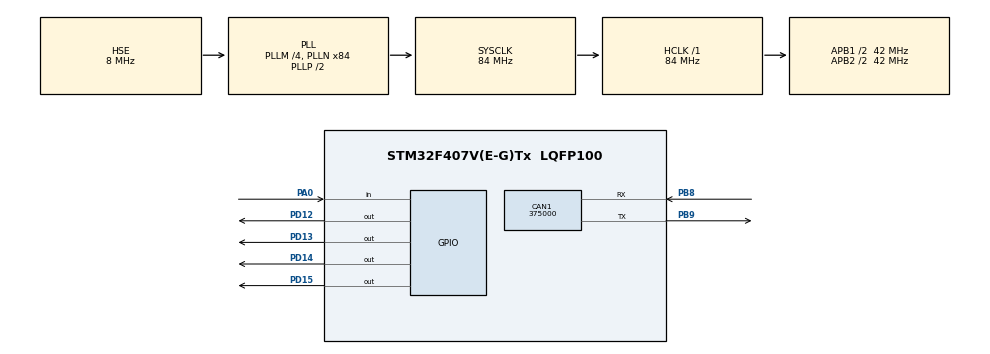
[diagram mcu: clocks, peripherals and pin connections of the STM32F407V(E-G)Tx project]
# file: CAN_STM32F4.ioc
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CAN1.BS1=CAN_BS1_4TQ
CAN1.BS2=CAN_BS2_2TQ
CAN1.CalculateBaudRate=375000
CAN1.CalculateTimeBit=2666.66
CAN1.CalculateTimeQuantum=380.95238095238096
Mcu.Family=STM32F4
Mcu.Name=STM32F407V(E-G)Tx
Mcu.Package=LQFP100
NVIC.CAN1_RX0_IRQn=true\:0\:0\:false\:false\:true\:true\:true
NVIC.PriorityGroup=NVIC_PRIORITYGROUP_4
PA0-WKUP.Signal=GPIO_Input
PA13.Mode=Serial_Wire
PA13.Signal=SYS_JTMS-SWDIO
PA14.Mode=Serial_Wire
PA14.Signal=SYS_JTCK-SWCLK
PB8.Mode=CAN_Activate
PB8.Signal=CAN1_RX
PB9.Mode=CAN_Activate
PB9.Signal=CAN1_TX
PD12.Signal=GPIO_Output
PD13.Signal=GPIO_Output
PD14.Signal=GPIO_Output
PD15.Signal=GPIO_Output
PH0-OSC_IN.Mode=HSE-External-Oscillator
PH0-OSC_IN.Signal=RCC_OSC_IN
PH1-OSC_OUT.Mode=HSE-External-Oscillator
PH1-OSC_OUT.Signal=RCC_OSC_OUT
ProjectManager.HeapSize=0x200
ProjectManager.StackSize=0x400
ProjectManager.TargetToolchain=MDK-ARM V5.27
RCC.48MHZClocksFreq_Value=42000000
RCC.AHBFreq_Value=84000000
RCC.APB1CLKDivider=RCC_HCLK_DIV2
RCC.APB1Freq_Value=42000000
RCC.APB1TimFreq_Value=84000000
RCC.APB2CLKDivider=RCC_HCLK_DIV2
RCC.APB2Freq_Value=42000000
RCC.APB2TimFreq_Value=84000000
RCC.CortexFreq_Value=84000000
RCC.HCLKFreq_Value=84000000
RCC.HSE_VALUE=8000000
RCC.HSI_VALUE=16000000
RCC.LSE_VALUE=32768
RCC.PLLM=4
RCC.PLLN=84
RCC.PLLSourceVirtual=RCC_PLLSOURCE_HSE
RCC.SYSCLKFreq_VALUE=84000000
RCC.SYSCLKSource=RCC_SYSCLKSOURCE_PLLCLK
RCC.VCOOutputFreq_Value=168000000
board=custom

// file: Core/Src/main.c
/* USER CODE BEGIN Header */
/**
  ******************************************************************************
  * @file           : main.c
  * @brief          : Main program body
  ******************************************************************************
  * @attention
  *
  * <h2><center>&copy; Copyright (c) 2021 STMicroelectronics.
  * All rights reserved.</center></h2>
  *
  * This software component is licensed by ST under BSD 3-Clause license,
  * the "License"; You may not use this file except in compliance with the
  * License. You may obtain a copy of the License at:
  *                        opensource.org/licenses/BSD-3-Clause
  *
  ******************************************************************************
  */
/* USER CODE END Header */
#include "main.h"
#include "stm32f4xx_hal.h"

CAN_HandleTypeDef hcan1;

/* USER CODE BEGIN PV */

//Tx & Rx message structure/typder
static CanRxMsgTypeDef myRxMessage;
static CanTxMsgTypeDef myTxMessage;

//Own and Remote IDs
uint16_t OwnID = 0x123;
uint16_t RemoteID = 0x124;

uint8_t myLEDVar = 0;

/* USER CODE END PV */

void SystemClock_Config(void);
static void MX_GPIO_Init(void);
static void MX_CAN1_Init(void);

void CAN_filterConfig(void);
void LED_Switch(uint8_t led);

int main(void)
{
  HAL_Init();

  SystemClock_Config();

  MX_GPIO_Init();
  MX_CAN1_Init();

	//Filter Config
	CAN_filterConfig();

	//Start listening for CAN traffic with IT
	HAL_CAN_Receive_IT(&hcan1, CAN_FIFO0);

	//Set Transmit paramters
	hcan1.pTxMsg->IDE = CAN_ID_STD;
	hcan1.pTxMsg->StdId = OwnID;
	hcan1.pTxMsg->RTR = CAN_RTR_DATA;
	hcan1.pTxMsg->DLC = 2;

  while (1)
  {
    if(HAL_GPIO_ReadPin(GPIOA, GPIO_PIN_0) == GPIO_PIN_SET)
		{
			//Transmit CAN packet
			if(myLEDVar == 4) myLEDVar=0;
			LED_Switch(++myLEDVar);

			hcan1.pTxMsg->Data[0] = myLEDVar;
			hcan1.pTxMsg->Data[1] = 0x12;
			HAL_CAN_Transmit(&hcan1, 20);

			HAL_Delay(200);
		}
  }

}

void SystemClock_Config(void)
{
  RCC_OscInitTypeDef RCC_OscInitStruct = {0};
  RCC_ClkInitTypeDef RCC_ClkInitStruct = {0};

  /** Configure the main internal regulator output voltage
  */
  __HAL_RCC_PWR_CLK_ENABLE();
  __HAL_PWR_VOLTAGESCALING_CONFIG(PWR_REGULATOR_VOLTAGE_SCALE1);
  /** Initializes the RCC Oscillators according to the specified parameters
  * in the RCC_OscInitTypeDef structure.
  */
  RCC_OscInitStruct.OscillatorType = RCC_OSCILLATORTYPE_HSE;
  RCC_OscInitStruct.HSEState = RCC_HSE_ON;
  RCC_OscInitStruct.PLL.PLLState = RCC_PLL_ON;
  RCC_OscInitStruct.PLL.PLLSource = RCC_PLLSOURCE_HSE;
  RCC_OscInitStruct.PLL.PLLM = 4;
  RCC_OscInitStruct.PLL.PLLN = 84;
  RCC_OscInitStruct.PLL.PLLP = RCC_PLLP_DIV2;
  RCC_OscInitStruct.PLL.PLLQ = 4;
  if (HAL_RCC_OscConfig(&RCC_OscInitStruct) != HAL_OK)
  {
    Error_Handler();
  }
  /** Initializes the CPU, AHB and APB buses clocks
  */
  RCC_ClkInitStruct.ClockType = RCC_CLOCKTYPE_HCLK|RCC_CLOCKTYPE_SYSCLK
                              |RCC_CLOCKTYPE_PCLK1|RCC_CLOCKTYPE_PCLK2;
  RCC_ClkInitStruct.SYSCLKSource = RCC_SYSCLKSOURCE_PLLCLK;
  RCC_ClkInitStruct.AHBCLKDivider = RCC_SYSCLK_DIV1;
  RCC_ClkInitStruct.APB1CLKDivider = RCC_HCLK_DIV2;
  RCC_ClkInitStruct.APB2CLKDivider = RCC_HCLK_DIV2;

  if (HAL_RCC_ClockConfig(&RCC_ClkInitStruct, FLASH_LATENCY_2) != HAL_OK)
  {
    Error_Handler();
  }
}

static void MX_CAN1_Init(void)
{
  hcan1.Instance = CAN1;

	hcan1.pTxMsg = &myTxMessage;
	hcan1.pRxMsg = &myRxMessage;

  hcan1.Init.Prescaler = 16;
  hcan1.Init.Mode = CAN_MODE_NORMAL;
  hcan1.Init.SJW = CAN_SJW_1TQ;
  hcan1.Init.BS1 = CAN_BS1_4TQ;
  hcan1.Init.BS2 = CAN_BS2_2TQ;
  hcan1.Init.TTCM = DISABLE;
  hcan1.Init.ABOM = DISABLE;
  hcan1.Init.AWUM = DISABLE;
  hcan1.Init.NART = DISABLE;
  hcan1.Init.RFLM = DISABLE;
  hcan1.Init.TXFP = DISABLE;
  if (HAL_CAN_Init(&hcan1) != HAL_OK)
  {
    Error_Handler();
  }

}

static void MX_GPIO_Init(void)
{
  GPIO_InitTypeDef GPIO_InitStruct = {0};

  /* GPIO Ports Clock Enable */
  __HAL_RCC_GPIOH_CLK_ENABLE();
  __HAL_RCC_GPIOA_CLK_ENABLE();
  __HAL_RCC_GPIOD_CLK_ENABLE();
  __HAL_RCC_GPIOB_CLK_ENABLE();

  /*Configure GPIO pin Output Level */
  HAL_GPIO_WritePin(GPIOD, GPIO_PIN_12|GPIO_PIN_13|GPIO_PIN_14|GPIO_PIN_15, GPIO_PIN_RESET);

  /*Configure GPIO pin : PA0 */
  GPIO_InitStruct.Pin = GPIO_PIN_0;
  GPIO_InitStruct.Mode = GPIO_MODE_INPUT;
  GPIO_InitStruct.Pull = GPIO_NOPULL;
  HAL_GPIO_Init(GPIOA, &GPIO_InitStruct);

  /*Configure GPIO pins : PD12 PD13 PD14 PD15 */
  GPIO_InitStruct.Pin = GPIO_PIN_12|GPIO_PIN_13|GPIO_PIN_14|GPIO_PIN_15;
  GPIO_InitStruct.Mode = GPIO_MODE_OUTPUT_PP;
  GPIO_InitStruct.Pull = GPIO_NOPULL;
  GPIO_InitStruct.Speed = GPIO_SPEED_FREQ_LOW;
  HAL_GPIO_Init(GPIOD, &GPIO_InitStruct);

}

/* USER CODE BEGIN 4 */

void CAN_filterConfig(void)
{
	CAN_FilterConfTypeDef filterConfig;

	filterConfig.BankNumber = 14;
	filterConfig.FilterActivation = ENABLE;
	filterConfig.FilterFIFOAssignment = 0;
	filterConfig.FilterIdHigh = 0x125 << 5;
	filterConfig.FilterIdLow = 0x0000;
	filterConfig.FilterMaskIdHigh = 0xFFE0;  //if(Mask & 0x124 == 0x124) --> Alow
	filterConfig.FilterMaskIdLow = 0x0000;
	filterConfig.FilterMode = CAN_FILTERMODE_IDMASK;
	filterConfig.FilterNumber = 0;
	filterConfig.FilterScale = CAN_FILTERSCALE_32BIT;

	HAL_CAN_ConfigFilter(&hcan1, &filterConfig);
}

void LED_Switch(uint8_t led)
{
	/* Turn off all LEDs */
	HAL_GPIO_WritePin(GPIOD, GPIO_PIN_12, GPIO_PIN_RESET);
	HAL_GPIO_WritePin(GPIOD, GPIO_PIN_13, GPIO_PIN_RESET);
	HAL_GPIO_WritePin(GPIOD, GPIO_PIN_14, GPIO_PIN_RESET);
	HAL_GPIO_WritePin(GPIOD, GPIO_PIN_15, GPIO_PIN_RESET);

	  switch(led)
  {
    case(1):
      HAL_GPIO_WritePin(GPIOD, GPIO_PIN_12, GPIO_PIN_SET);
      break;

    case(2):
      HAL_GPIO_WritePin(GPIOD, GPIO_PIN_13, GPIO_PIN_SET);
      break;

    case(3):
      HAL_GPIO_WritePin(GPIOD, GPIO_PIN_14, GPIO_PIN_SET);
      break;

    case(4):
      HAL_GPIO_WritePin(GPIOD, GPIO_PIN_15, GPIO_PIN_SET);
      break;

    default:
      break;
  }
}

void HAL_CAN_RxCpltCallback(CAN_HandleTypeDef* hcan)
{
	if(hcan->pRxMsg->StdId == RemoteID)
	{
		myLEDVar = hcan->pRxMsg->Data[0];
		LED_Switch(myLEDVar);
	}

	//Start listening another CAN packet
	HAL_CAN_Receive_IT(&hcan1, CAN_FIFO0);
}

/* USER CODE END 4 */

void Error_Handler(void)
{
  __disable_irq();
  while (1)
  {
  }
}

/************************ (C) COPYRIGHT STMicroelectronics *****END OF FILE****/
